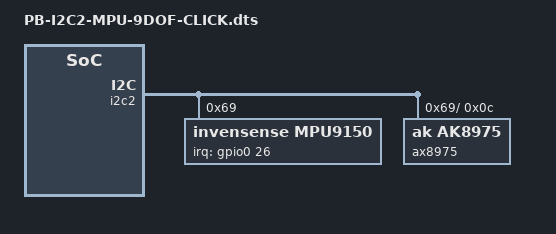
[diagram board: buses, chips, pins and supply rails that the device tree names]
/*
 * Copyright (C) 2017 Robert Nelson <robertcnelson@gmail.com>
 *
 * This program is free software; you can redistribute it and/or modify
 * it under the terms of the GNU General Public License version 2 as
 * published by the Free Software Foundation.
 */
/dts-v1/;
/plugin/;

#include <dt-bindings/board/am335x-bbw-bbb-base.h>
#include <dt-bindings/gpio/gpio.h>
#include <dt-bindings/pinctrl/am33xx.h>

/ {
	fragment@0 {
		target = <&am33xx_pinmux>;
		__overlay__ {

			mpu9150_pins: pinmux_mpu9150_pins {
				pinctrl-single,pins = <
					AM33XX_IOPAD(0x0828, PIN_INPUT | MUX_MODE7 ) /* (T11) gpmc_ad10.gpio0[26] INT */
				>;
			};
		};
	};

	fragment@1 {
		target = <&ocp>;
		__overlay__ {

			P1_34_pinmux {
				status = "disabled";
			};
		};
	};

	fragment@2 {
		target = <&i2c2>;
		__overlay__ {
			status = "okay";

			#address-cells = <1>;
			#size-cells = <0>;

			mpu9150@69 {
				compatible = "invensense,mpu9150";
				reg = <0x69>;
				interrupt-parent = <&gpio0>;
				interrupts = <26 1>;
				i2c-gate {
					#address-cells = <1>;
					#size-cells = <0>;
					ax8975@c {
						compatible = "ak,ak8975";
						reg = <0x0c>;
					};
				};
			};
		};
	};
};

